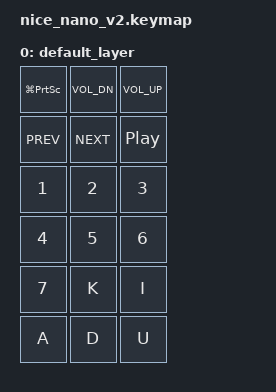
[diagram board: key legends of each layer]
#include <behaviors.dtsi>
#include <dt-bindings/zmk/keys.h>

/ {
    keymap {
        compatible = "zmk,keymap";

        default_layer {
            bindings = <
                &kp LG(PSCRN) &kp C_VOL_DN &kp C_VOL_UP
                &kp C_PREV    &kp C_NEXT   &kp C_PP
                &kp N1        &kp N2       &kp N3
                &kp N4        &kp N5       &kp N6
                &kp N7        &kp K        &kp I
                &kp A         &kp D        &kp U
            >;
        };
    };
};
